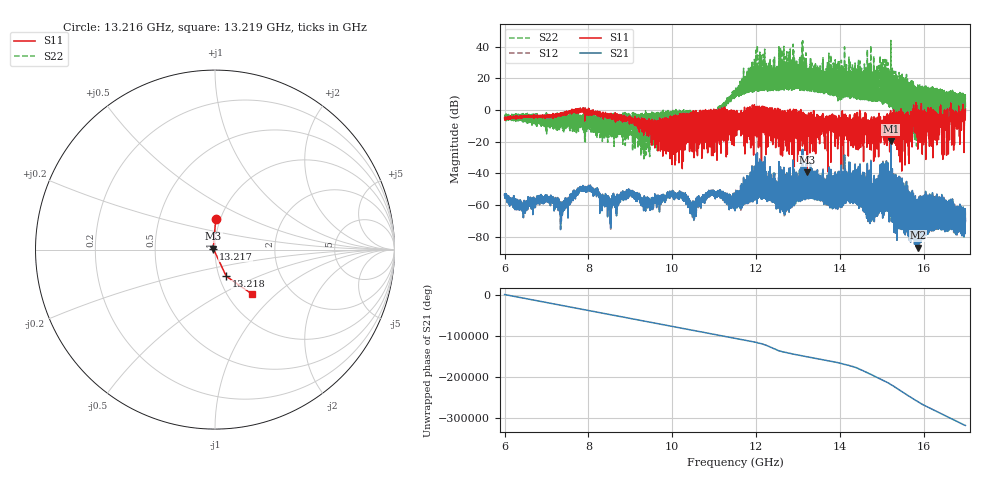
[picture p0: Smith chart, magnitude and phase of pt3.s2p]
#  HZ  S  RI  R  50.00
! Rohde & Schwarz Vector Network Analyzer
! Rohde-Schwarz,ZNA67-2Port,1332450062101215,3.01
! Created: UTC 10/15/2026, 12:12:09 PM
! freq[Hz]  re:S11  im:S11  re:S21  im:S21  re:S12  im:S12  re:S22  im:S22
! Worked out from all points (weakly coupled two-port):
!   11001 points, 6 GHz to 17 GHz, reference 50 ohm
!   highest |S21| = -19.84 dB at 15.22 GHz (marker M1); lowest = -86.9 dB at 15.868 GHz (marker M2)
!   lowest |S11| = -39.3 dB at 13.217 GHz (marker M3), VSWR 1.02, Z = 49.1 + j0.515 ohm
!   |S11| at or under -10 dB: 14.07894 GHz to 14.09332 GHz (14.38 MHz wide, 0.102 % of centre); 14.65989 GHz to 14.67361 GHz (13.73 MHz wide, 0.0936 % of centre); 14.78649 GHz to 14.80147 GHz (14.98 MHz wide, 0.101 % of centre) (the widest 3 of 577)
!   |S22| runs from -30.8 to 44.0 dB; largest |S21 - S12| = 0.0056
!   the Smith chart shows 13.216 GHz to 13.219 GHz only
!   S11 on the Smith chart (normalised r, x): 13.216 GHz: 0.95, +0.34; 13.217 GHz: 0.98, +0.01; 13.218 GHz: 1.08, -0.33; 13.219 GHz: 1.29, -0.71
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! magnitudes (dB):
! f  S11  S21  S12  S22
! 6 GHz  -5.0  -53.1  -53.1  -5.3
! 7.361 GHz  -2.2  -60.4  -60.4  -5.2
! 7.834 GHz  -0.6  -49.7  -49.6  -5.9
! 8.502 GHz  -4.3  -58.1  -58.0  -4.1
! 9.006 GHz  -6.7  -52.0  -52.1  -4.9
! 9.667 GHz  -8.1  -55.8  -56.3  -2.5
! 10.203 GHz  -3.8  -54.2  -54.2  -2.5
! 10.491 GHz  -2.2  -62.9  -63.1  -11.6
! 10.833 GHz  -3.5  -53.5  -53.6  -2.7
! 11.5 GHz  -3.8  -63.7  -63.8  9.5
! 13.216 GHz  -15.2  -45.0  -44.8  23.8
! 13.217 GHz  -39.3  -52.7  -52.4  16.6
! 13.218 GHz  -15.8  -54.0  -54.0  14.8
! 13.219 GHz  -9.9  -52.0  -52.2  15.5
! 13.334 GHz  -15.0  -51.2  -51.1  15.7
! 14.338 GHz  -8.8  -53.7  -53.9  11.9
! 14.765 GHz  -13.4  -52.0  -51.4  21.6
! 15.167 GHz  -12.6  -62.9  -63.2  5.1
! 15.22 GHz  -6.3  -19.8  -20.0  44.0
! 15.868 GHz  -7.9  -86.9  -87.1  -21.6
! 16.571 GHz  0.7  -70.5  -70.6  -1.5
! 17 GHz  0.6  -70.1  -71.0  1.8
